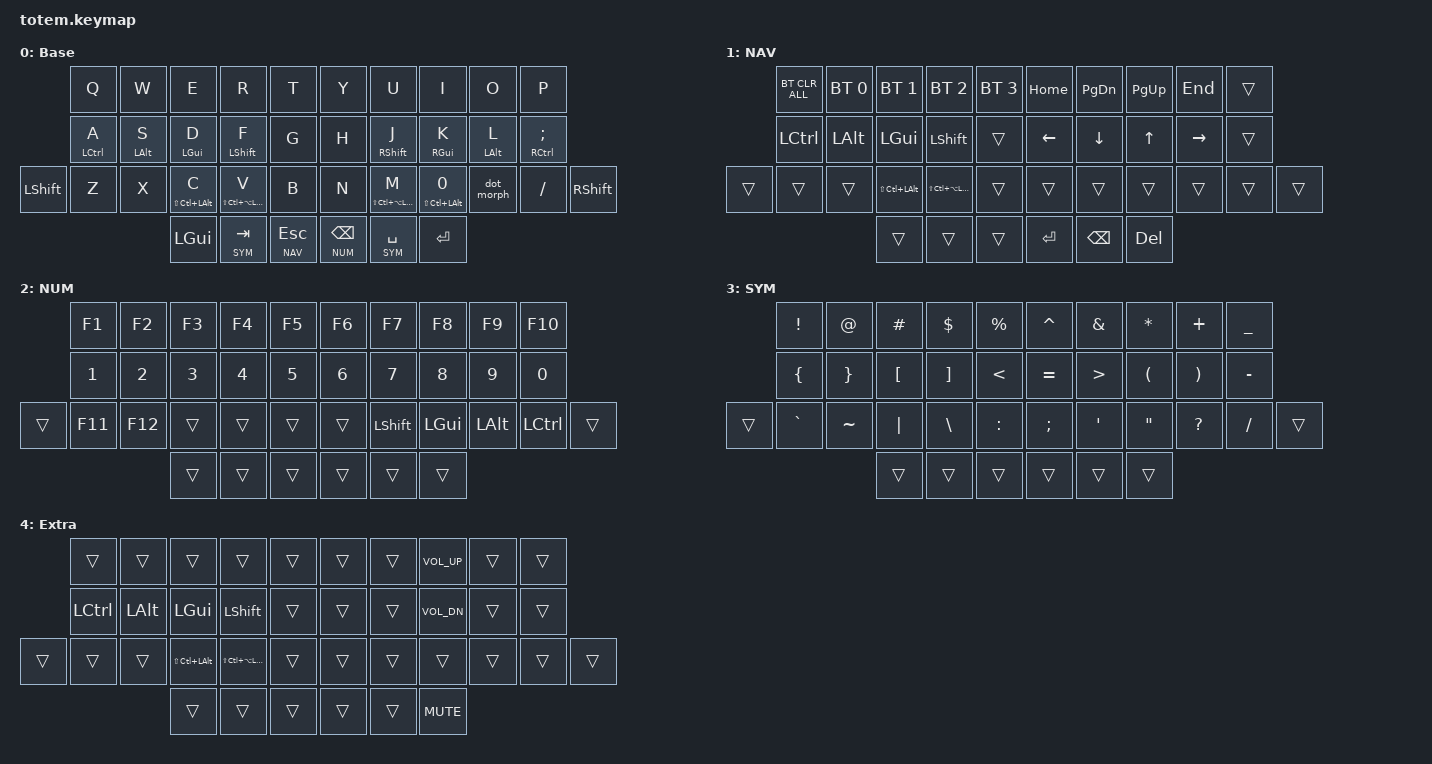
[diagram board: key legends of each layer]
// Copyright (c) 2022 The ZMK Contributors
// SPDX-License-Identifier: MIT

#include "../zmk-nodefree-config/helper.h"
#include "../zmk-nodefree-config/keypos_def/keypos_38keys.h"
#include <behaviors.dtsi>
#include <dt-bindings/zmk/keys.h>
#include <dt-bindings/zmk/bt.h>

#define XXX &none
#define TODO ___
#define ___ &trans

#define BASE 0
#define NAV 1
#define NUM 2
#define SYM 3
#define EXTRA 4

#include "combos.dtsi"

// navigation bindings for back/forward and prev tab/next tab
#define BACK &kp LG(LBKT)
#define FWD &kp LG(RBKT)

// hyper and meh keys
#define HYP LS(LC(LA(LGUI)))
#define MEH LS(LC(LALT))

/* ------------------------ general config ----------------------- */

#define QUICK_TAP_MS 175

// smart-layer config
&caps_word {  
    // /delete-property/ ignore-modifiers; // mods deactivate, requires PR #1451
    /delete-property/ ignore-numbers;
    continue-list = <BACKSPACE ENTER DELETE UNDERSCORE MINUS>;
};

// key-repeat config
&key_repeat {
    usage-pages = <HID_USAGE_KEY HID_USAGE_CONSUMER>; // repeat all keys
};

// sticky key aka 'one-shot mods'
&sk {
    release-after-ms = <2000>;
    quick-release;
};

// default layer-tap config
&lt {  
    flavor = "balanced";
    tapping-term-ms = <200>;
    quick-tap-ms = <QUICK_TAP_MS>;
};

#define KEYS_L LT0 LT1 LT2 LT3 LT4 LM0 LM1 LM2 LM3 LM4 LB0 LB1 LB2 LB3 LB4  // left hand
#define KEYS_R RT0 RT1 RT2 RT3 RT4 RM0 RM1 RM2 RM3 RM4 RB0 RB1 RB2 RB3 RB4  // right hand
#define THUMBS LH2 LH1 LH0 RH0 RH1 RH2                                      // thumbs

#define MAKE_HRM(NAME, HOLD, TAP, TRIGGER_POS) \
    ZMK_BEHAVIOR(NAME, hold_tap, \
        flavor = "balanced"; \
        tapping-term-ms = <280>; \
        quick-tap-ms = <QUICK_TAP_MS>; \
        require-prior-idle-ms = <150>; \
        bindings = <HOLD>, <TAP>; \
        hold-trigger-key-positions = <TRIGGER_POS>; \
        hold-trigger-on-release; \
    )
MAKE_HRM(hml, &kp, &kp, KEYS_R THUMBS)  // left-hand HRMs
MAKE_HRM(hmr, &kp, &kp, KEYS_L THUMBS)  // right-hand HRMs

// special HRMs for the right meh key, as it involves a modmorph
MAKE_HRM(hmr_meh, &kp, &comma_morph, KEYS_L THUMBS)
// MAKE_HRM(hmr_lpar, &kp, &lpar, KEYS_L THUMBS)    // "    "   "   "
// MAKE_HRM(hmr_rpar, &kp, &rpar, KEYS_L THUMBS)    // "    "   "   "

// mod_morph keys
// tap: qmark | shift + tap: excl
ZMK_BEHAVIOR(qexcl, mod_morph,
    bindings = <&kp QMARK>, <&kp EXCL>;
    mods = <(MOD_LSFT|MOD_RSFT)>;
)

// tap: comma | shift + tap: semicolon 
ZMK_BEHAVIOR(comma_morph, mod_morph,
    bindings = <&kp COMMA>, <&kp SEMICOLON>;
    mods = <(MOD_LSFT|MOD_RSFT)>;
)

// tap: dot | shift + tap: colon 
ZMK_BEHAVIOR(dot_morph, mod_morph,
    bindings = <&kp DOT>, <&kp COLON>;
    mods = <(MOD_LSFT|MOD_RSFT)>;
)

/ {
// TODO: Add hyper key as HRM
    keymap {
        compatible = "zmk,keymap";
        default_layer {
            display-name = "Base";
            bindings = <
            &kp Q         &kp W         &kp E            &kp R            &kp T              &kp Y         &kp U              &kp I            &kp O         &kp P
            &hml LCTRL A  &hml LALT S   &hml LGUI D      &hml LSHFT F     &kp G              &kp H         &hmr RSHFT J       &hmr RGUI K      &hmr LALT L   &hmr RCTRL SEMI
 &kp LSHFT  &kp Z         &kp X         &hml MEH C       &hml HYP V       &kp B              &kp N         &hmr HYP M         &hmr_meh MEH 0   &dot_morph    &kp FSLH      &kp RSHFT
                                        &kp LGUI       &lt SYM TAB      &lt NAV ESC        &lt NUM BSPC  &lt SYM SPACE       &kp RET
            >;
        };
        nav_layer {
            display-name = "NAV";
            // TOTEM COMPATIBLE - Matches lily58 NAV layer
            // VIM navigation on right side (hjkl)
            bindings = <
            &bt BT_CLR_ALL &bt BT_SEL 0 &bt BT_SEL 1    &bt BT_SEL 2  &bt BT_SEL 3       &kp HOME      &kp PG_DN          &kp PG_UP        &kp END       ___
            &kp LCTRL      &kp LALT     &kp LGUI        &kp LSHFT     ___                &kp LEFT      &kp DOWN           &kp UP           &kp RIGHT     ___
    ___     ___            ___          &kp MEH         &kp HYP       ___                ___           ___                ___              ___           ___             ___
                                        ___             ___           ___                &kp RET       &kp BSPC           &kp DEL
            >;
        }; 
        num_layer {
            display-name = "NUM";
            // TOTEM COMPATIBLE - Matches lily58 NUM layer
            bindings = <
            &kp F1        &kp F2       &kp F3          &kp F4          &kp F5             &kp F6        &kp F7             &kp F8           &kp F9        &kp F10
            &kp N1        &kp N2       &kp N3          &kp N4          &kp N5             &kp N6        &kp N7             &kp N8           &kp N9        &kp N0
    ___     &kp F11       &kp F12      ___             ___             ___                ___           &kp LSHFT          &kp LGUI         &kp LALT      &kp LCTRL       ___
                                       ___             ___             ___                ___           ___                ___
            >;
        };
        sym_layer {
            display-name = "SYM";
            // TOTEM COMPATIBLE - Matches lily58 SYM layer
            // Optimized for common rolls: -> => != == >= <= && || ++ --
            bindings = <
            &kp EXCL      &kp AT       &kp HASH        &kp DLLR        &kp PRCNT          &kp CARET     &kp AMPS           &kp STAR         &kp PLUS      &kp UNDER
            &kp LBRC      &kp RBRC     &kp LBKT        &kp RBKT        &kp LT             &kp EQUAL     &kp GT             &kp LPAR         &kp RPAR      &kp MINUS
    ___     &kp GRAVE     &kp TILDE    &kp PIPE        &kp BSLH        &kp COLON          &kp SEMI      &kp SQT            &kp DQT          &kp QMARK     &kp FSLH        ___
                                       ___             ___             ___                ___           ___                ___
            >;
        };
        extra_layer {
            display-name = "Extra";
            // Utility layer - media controls and additional functions
            bindings = <
            ___           ___          ___             ___             ___                ___           ___                &kp C_VOL_UP     ___           ___
            &kp LCTRL     &kp LALT     &kp LGUI        &kp LSHFT       ___                ___           ___                &kp C_VOL_DN     ___           ___
    ___     ___           ___          &kp MEH         &kp HYP         ___                ___           ___                ___              ___           ___             ___
                                       ___             ___             ___                ___           ___                &kp C_MUTE
            >;
        };  
    };
};
    
/* --------------------------------- combos --------------------------------- */
/*
   ╭────────────────────┬────────────────────╮     ╭─────────────────────┬─────────────────────╮
   │  0   1   2   3   4 │  5   6   7   8   9 │     │ LT4 LT3 LT2 LT1 LT0 │ RT0 RT1 RT2 RT3 RT4 │
   │ 10  11  12  13  14 │ 15  16  17  18  19 │     │ LM4 LM3 LM2 LM1 LM0 │ RM0 RM1 RM2 RM3 RM4 │
  20 21  22  23  24  25 │ 26  27  28  29  30 31  LB5 LB4 LB3 LB2 LB1 LB0 │ RB0 RB1 RB2 RB3 RB4 RB5
   ╰───────╮ 32  33  34 │ 35  36  37 ╭───────╯     ╰───────╮ LH2 LH1 LH0 │ RH0 RH1 RH2 ╭───────╯
           ╰────────────┴────────────╯                     ╰─────────────┴─────────────╯             */
// use global-quick-tap-ms for combos (requires PR 1387)
